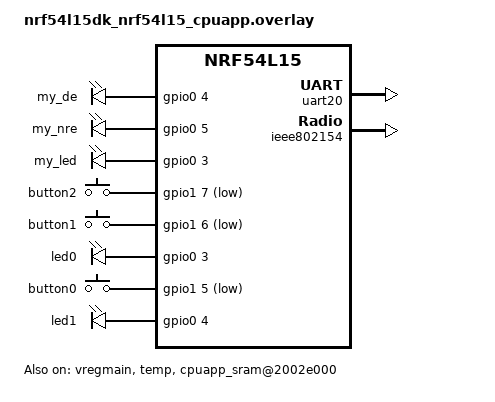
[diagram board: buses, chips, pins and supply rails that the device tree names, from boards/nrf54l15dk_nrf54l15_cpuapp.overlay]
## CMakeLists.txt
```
# SPDX-License-Identifier: Apache-1.0

cmake_minimum_required(VERSION 3.20.0)
find_package(Zephyr REQUIRED HINTS $ENV{ZEPHYR_BASE})
project(NONE)

FILE(GLOB app_sources src/*.c)
target_sources(app PRIVATE
  ${app_sources}
  )
```

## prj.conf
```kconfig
CONFIG_LOG=y
CONFIG_LOG_BUFFER_SIZE=1024
CONFIG_LOG_MODE_DEFERRED=n
CONFIG_LOG_MODE_IMMEDIATE=y
CONFIG_MAIN_STACK_SIZE=8192
CONFIG_IDLE_STACK_SIZE=8192
CONFIG_ISR_STACK_SIZE=8192

CONFIG_PM=y
CONFIG_PM_DEVICE=y
CONFIG_PM_DEVICE_RUNTIME=y
CONFIG_PM_DEVICE_SYSTEM_MANAGED=n
CONFIG_PM_DEVICE_SHELL=y
CONFIG_PM_DEVICE_LOG_LEVEL_INF=y
CONFIG_LOG_DEFAULT_LEVEL=3

CONFIG_SPI=y
CONFIG_FLASH=y
CONFIG_FLASH_LOG_LEVEL_DBG=y
CONFIG_SPI_LOG_LEVEL_DBG=y

CONFIG_ASSERT=y

CONFIG_DEBUG=n
```

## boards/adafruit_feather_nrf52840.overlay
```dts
// / {
// 	chosen {
// 		zephyr,console = &rtt;
// 		zephyr,shell-uart = &rtt;
// 	};
// };

/ {
    leds {
        compatible = "gpio-leds";

        led0: led_0 {
            gpios = <&gpio0 15 GPIO_ACTIVE_HIGH>;
            label = "Red LED";
        };
    };
};

/ {
    aliases {
        de = &my_de;
        nre = &my_nre;
    };

    leds {
        compatible = "gpio-leds";

        led0: led_0 {
            gpios = <&gpio1 15 GPIO_ACTIVE_HIGH>;
        };

        my_de: my_de {
            gpios = <&gpio0 28 GPIO_ACTIVE_HIGH>;
        };

        my_nre: my_nre {
            gpios = <&gpio0 4 GPIO_ACTIVE_HIGH>; 
        };	
    };
};

&qspi {
    status = "okay";
    pinctrl-0 = <&qspi_default>;
    pinctrl-1 = <&qspi_sleep>;
    pinctrl-names = "default", "sleep";

    gd25q16: gd25q16@0 {
        compatible = "nordic,qspi-nor";
        reg = <0>;
        writeoc = "pp4o";
        readoc = "read4io";
        sck-frequency = <16000000>;
        jedec-id = [ef 40 15];
        size = <16777216>;
        has-dpd;
        t-enter-dpd = <20000>;
        t-exit-dpd = <20000>;
        quad-enable-requirements = "S2B1v1";
    };
};

&radio {
    status = "disabled";
};

&i2c0 {
    status = "disabled";  
};

&i2c1 {
    status = "disabled";  
};

&adc {
    status = "disabled";  
};

&usbd {
    status = "disabled";  
};

&uart0 {
    status = "disabled";  
};
```

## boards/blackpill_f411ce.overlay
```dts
// See also: blackpill_f411ce.dts

/* enable USART1 for rs485 communications */
&usart1 {
     status = "disabled";
     current-speed = <115200>;
     pinctrl-0 = <&usart1_tx_pa15 &usart1_rx_pb3>;
     pinctrl-names = "default"; 
};

&usart2 {
     status = "disabled";
     current-speed = <115200>;
     pinctrl-0 = <&usart2_tx_pa2 &usart2_rx_pa3>;
     pinctrl-names = "default";
};

&usart6 {
     status = "disabled";
     current-speed = <115200>;
     pinctrl-0 = <&usart6_tx_pa11 &usart6_rx_pa12>;
     pinctrl-names = "default";
};

/ {
     aliases {
          serial-modem = &usart2;
          serial-console = &usart1;
     };
};

/ {
     rtt0: rtt_chan0 {
          compatible = "segger,rtt-uart";
          zephyr,pm-device-runtime-auto;
     };

     chosen {
          zephyr,console = &rtt0;
     };
};

/// {
//	chosen {
//		zephyr,console = &usart6;
//		zephyr,shell-uart = &usart6;
//	};
//};
//
/// {
//	chosen {
//		zephyr,console = &cdc_acm_uart0;
//		zephyr,shell-uart = &cdc_acm_uart0;
//	};
//};
//
//
//
//&zephyr_udc0 {
//	cdc_acm_uart0: cdc_acm_uart0 {
//		compatible = "zephyr,cdc-acm-uart";
//	};
//};

&adc1 {
     status = "disabled";
};

&i2c1 {
     status = "disabled";
};

&i2c2 {
     status = "disabled";
};

&i2c3 {
     status = "disabled";
};

&usbotg_fs {
     status = "disabled";
};

&spi1 {
     status = "disabled";
};

&spi2 {
     status = "disabled";
};

&spi3 {
     status = "disabled";
};

&spi4 {
     status = "disabled";
};

&spi5 {
     status = "disabled";
};
```

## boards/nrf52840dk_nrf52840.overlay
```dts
&uart0 {
    status = "disabled";
    //  current-speed = <115200>;
    //  pinctrl-0 = <&usart1_tx_pa15 &usart1_rx_pb3>;
    //  pinctrl-names = "default"; 
};

/ {
    aliases {
        de = &my_de;
        nre = &my_nre;
    };

    leds {
        compatible = "gpio-leds";

        my_de: my_de {
            gpios = <&gpio0 28 GPIO_ACTIVE_HIGH>; 
        };

        my_nre: my_nre {
            gpios = <&gpio0 4 GPIO_ACTIVE_HIGH>;  
        };	
    };
};
```

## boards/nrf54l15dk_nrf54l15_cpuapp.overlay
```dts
/*
 * Copyright (c) 2024 Nordic Semiconductor
 * SPDX-License-Identifier: Apache-2.0
 */

&pinctrl {
	/omit-if-no-ref/ uart20_default: uart20_default {
		group1 {
			psels = <NRF_PSEL(UART_TX, 1, 8)>;				 
		};
		group2 {
			psels = <NRF_PSEL(UART_RX, 1, 9)>;				 
			bias-pull-up;
		};
	};

	/omit-if-no-ref/ uart20_sleep: uart20_sleep {
		group1 {
			psels = <NRF_PSEL(UART_TX, 1, 8)>,
				    <NRF_PSEL(UART_RX, 1, 9)>;			 
			low-power-enable;
		};
	};

	/omit-if-no-ref/ uart30_default: uart30_default {
		group1 {
			psels = <NRF_PSEL(UART_TX, 0, 0)>,
				<NRF_PSEL(UART_RTS, 0, 2)>;
		};
		group2 {
			psels = <NRF_PSEL(UART_RX, 0, 1)>,
				<NRF_PSEL(UART_CTS, 0, 3)>;
			bias-pull-up;
		};
	};

	/omit-if-no-ref/ uart30_sleep: uart30_sleep {
		group1 {
			psels = <NRF_PSEL(UART_TX, 0, 0)>,
				<NRF_PSEL(UART_RX, 0, 1)>,
				<NRF_PSEL(UART_RTS, 0, 2)>,
				<NRF_PSEL(UART_CTS, 0, 3)>;
			low-power-enable;
		};
	};

	/omit-if-no-ref/ spi00_default: spi00_default {
		group1 {
			psels = <NRF_PSEL(SPIM_SCK, 2, 1)>,
				<NRF_PSEL(SPIM_MOSI, 2, 2)>,
				<NRF_PSEL(SPIM_MISO, 2, 4)>;
		};
	};

	/omit-if-no-ref/ spi00_sleep: spi00_sleep {
		group1 {
			psels = <NRF_PSEL(SPIM_SCK, 2, 1)>,
				<NRF_PSEL(SPIM_MOSI, 2, 2)>,
				<NRF_PSEL(SPIM_MISO, 2, 4)>;
				low-power-enable;
		};
	};

	/omit-if-no-ref/ pwm20_default: pwm20_default {
		group1 {
			psels = <NRF_PSEL(PWM_OUT0, 1, 10)>;
		};
	};

	/omit-if-no-ref/ pwm20_sleep: pwm20_sleep {
		group1 {
			psels = <NRF_PSEL(PWM_OUT0, 1, 10)>;
			low-power-enable;
		};
	};	
};

&vregmain {
	status = "okay";
	regulator-initial-mode = <NRF5X_REG_MODE_DCDC>;
};
 
/ {
	cpuapp_sram@2002e000 {
		compatible = "zephyr,memory-region", "mmio-sram";
		reg = <0x2002e000 DT_SIZE_K(4)>;
		zephyr,memory-region = "RetainedMem";
		status = "okay";

		retainedmem0: retainedmem {
			compatible = "zephyr,retained-ram";
			status = "okay";
		};
	};

	aliases {
		retainedmemdevice = &retainedmem0;
                die-temp0 = &temp;	
		/delete-property/ led3;
		/delete-property/ led2;
		/delete-property/ sw3;
	};
};

&cpuapp_sram {
	/* Shrink SRAM size to avoid overlap with retained memory region */
	reg = <0x20000000 DT_SIZE_K(184)>;
	ranges = <0x0 0x20000000 0x2e000>;
};

 

&button2 {
	gpios = <&gpio1 7 (GPIO_ACTIVE_LOW | GPIO_PULL_UP)>;
};

&button1 {
	gpios = <&gpio1 6 (GPIO_ACTIVE_LOW | GPIO_PULL_UP)>;
};

&led0 {
	gpios = <&gpio0 3 0>;
};

&button0 {
	gpios = <&gpio1 5 (GPIO_ACTIVE_LOW | GPIO_PULL_UP)>;
};

&led1 {
	gpios = <&gpio0 4 0>;
};
/delete-node/ &button3;
/delete-node/ &led3;
/delete-node/ &led2;

&uart20 {
	status = "okay";
};
/* 
&nfct {
    status = "disabled";
}; 

 */
 /* 
&uicr {
	nfct-pins-as-gpios;
};

&uicr {
	gpio-as-nreset;
}; 
*/
 
&temp {
	status = "okay";
};

&ieee802154 {
	status = "okay";
};

/ {
    aliases {
        de = &my_de;
        nre = &my_nre;
        user-led = &my_led;
    };

    leds {
        compatible = "gpio-leds";

        my_de: my_de {
            gpios = <&gpio0 4 GPIO_ACTIVE_HIGH>; 
        };

        my_nre: my_nre {
            gpios = <&gpio0 5 GPIO_ACTIVE_HIGH>;  
        };

        my_led: my_led {
            gpios = <&gpio0 3 GPIO_ACTIVE_HIGH>;  
        };        	
    };
};
```

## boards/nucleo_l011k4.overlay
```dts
/ {
    aliases {
        /* This alias is the magic link for the stm32_lptim_timer driver */
        stm32-lp-tick-source = &lptim1;
    };
};

&lptim1 {
    status = "okay";
    /* Use a prescaler of 32 to allow for longer sleep durations 
     * (up to 64 seconds) at the cost of some tick precision
     */
    st,prescaler = <32>;
};
```

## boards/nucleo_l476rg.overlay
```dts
// see C:\Users\MichaelDesrosiers\zephyrproject\zephyr\boards\st\nucleo_l552ze_q\nucleo_l552ze_q-common.dtsi

/ {
    aliases {
        de = &my_de;
        nre = &my_nre;
        user-led = &my_led;
    };

    leds {
        compatible = "gpio-leds";

        my_de: my_de {
            gpios = <&gpiob 13 GPIO_ACTIVE_HIGH>; 
        };

        my_nre: my_nre {
            gpios = <&gpiob 14 GPIO_ACTIVE_HIGH>;  
        };
        
        my_led: my_led {
            gpios = <&gpiob 13 GPIO_ACTIVE_HIGH>;  
        };
    };
};

&usart1 {
    status = "okay";
    current-speed = <115200>;
    pinctrl-0 = <&usart1_tx_pa9 &usart1_rx_pa10>;
    pinctrl-names = "default"; 
};

// &usart2 {
//     status = "okay";
//     current-speed = <115200>;
//     pinctrl-0 = <&usart2_tx_pa2 &usart2_rx_pa3>;
//     pinctrl-names = "default";
// };

&usart3 {
    status = "okay";
    current-speed = <500000>;
    pinctrl-0 = <&usart3_tx_pc10 &usart3_rx_pc11>;
    pinctrl-names = "default";
};

/ {
    chosen {
        //zephyr,console = &cdc_acm_uart0;
        zephyr,console = &usart3;
        zephyr,shell-uart = &usart3;
        uart,atmodem = &usart1;
        // uart-rs485 = &usart2;
    };
};

&spi3 {
    status = "disabled";
};

&spi1 {
    pinctrl-0 = <&spi1_sck_pa5 &spi1_miso_pa6 &spi1_mosi_pa7>;
    pinctrl-names = "default";
    cs-gpios = <&gpiob 6 GPIO_ACTIVE_LOW>;

    status = "okay";

    w25q128_spi: spi-nor-flash@0 {
        compatible = "jedec,spi-nor";
        reg = <0>;
        spi-max-frequency = <24000000>;
        size = <0x01000000>;    /* 128 Mbit = 16 MByte */
        status = "okay";
        jedec-id = [ef 40 18];
        has-dpd;
        t-enter-dpd = <30000>;  /* ns */
        t-exit-dpd = <30000>;   /* ns */

        partitions {
            compatible = "fixed-partitions";
            #address-cells = <1>;
            #size-cells = <1>;

            ext_storage_partition: partition@0 {
                label = "external_storage";
                reg = <0x00000000 0x01000000>;
            };
        };
    };
};

/ {
    aliases {
        external-flash = &w25q128_spi;
    };
};

// / {
//     aliases {
//         /delete-property/ led0;
//     };
// };
```

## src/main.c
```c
#include <zephyr/kernel.h>
#include <zephyr/drivers/gpio.h>
#include <zephyr/logging/log.h>
#include <zephyr/drivers/flash.h>
#include <zephyr/pm/device.h> // Required for DPD/Power management
LOG_MODULE_REGISTER(main, CONFIG_LOG_DEFAULT_LEVEL);

static const struct gpio_dt_spec de = GPIO_DT_SPEC_GET(DT_ALIAS(de), gpios);
static const struct gpio_dt_spec nre = GPIO_DT_SPEC_GET(DT_ALIAS(nre), gpios);

// static struct gpio_dt_spec g_led = GPIO_DT_SPEC_GET_OR(DT_ALIAS(led0), gpios, {0});
static struct gpio_dt_spec g_led = GPIO_DT_SPEC_GET(DT_ALIAS(user_led), gpios);

void SerialSleep()
{
	// Set nRE to 1 and DE to 0 to enter Shutdown mode.
	// https://www.analog.com/media/en/technical-documentation/data-sheets/1481fa.pdf

	int DEReady = gpio_is_ready_dt(&de);
	int nREReady = gpio_is_ready_dt(&nre);

	if (DEReady && nREReady) {

		gpio_pin_set_dt(&de, 0);
		gpio_pin_set_dt(&nre, 1);
	} else {
		LOG_ERR("One of DE/nRE GPIOs not ready!");
	}
}

void SerialWake()
{
	// Set nRE to 1 and DE to 0 to enter Shutdown mode.
	// https://www.analog.com/media/en/technical-documentation/data-sheets/1481fa.pdf

	int DEReady = gpio_is_ready_dt(&de);
	int nREReady = gpio_is_ready_dt(&nre);
	if (DEReady && nREReady) {

		gpio_pin_set_dt(&de, 1);
		gpio_pin_set_dt(&nre, 1);
	} else {
		LOG_ERR("One of DE/nRE GPIOs not ready!");
	}
}

void main(void)
{
	int err;
	if (!gpio_is_ready_dt(&de)) {
		LOG_ERR("The RS485-DE GPIO port is not ready.");
		return 0;
	}

	if (!gpio_is_ready_dt(&nre)) {
		LOG_ERR("The RS485-nRE GPIO port is not ready.");
		return 0;
	}

	if (!gpio_is_ready_dt(&g_led)) {
		LOG_ERR("The LED port is not ready.");
		return 0;
	}

	err = gpio_pin_configure_dt(&de, GPIO_OUTPUT_INACTIVE);
	if (err != 0) {
		LOG_ERR("Configuring RS485DE GPIO pin failed: %d", err);
		return 0;
	}

	err = gpio_pin_configure_dt(&nre, GPIO_OUTPUT_INACTIVE);
	if (err != 0) {
		LOG_ERR("Configuring RS485nRE GPIO pin failed: %d", err);
		return 0;
	}

	err = gpio_pin_configure_dt(&g_led, GPIO_OUTPUT_INACTIVE);
	if (err != 0) {
		LOG_ERR("Configuring LED GPIO pin failed: %d", err);
		return 0;
	}

	SerialWake();

	for (int i = 0; i < 10; i++) {
		LOG_INF("booting: %d", i);
		k_busy_wait(1000 * 200);
	}

	for (int i = 0; i < 2; i++) {
		LOG_INF("hi - busy");
		gpio_pin_set_dt(&g_led, 1);
		k_busy_wait(1000 * 100);
		LOG_INF("lo - busy");
		gpio_pin_set_dt(&g_led, 0);
		k_busy_wait(1000 * 900);
	}
	printk("moving to real sleeps!\n");
	SerialSleep();
	for (int i = 0; i < 10; i++) {
		LOG_INF("hi - sleep");
		gpio_pin_set_dt(&g_led, 1);
		k_sleep(K_MSEC(100));
		LOG_INF("lo - sleep");
		gpio_pin_set_dt(&g_led, 0);
		k_sleep(K_MSEC(900));
	}

	for (;;) {
		k_sleep(K_MSEC(1000));
	}
}
```

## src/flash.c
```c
// /*
//  * Copyright (C) 2023 Dave Waataja
//  *
//  */

// #include "flash.h"
// #include <nrfx_qspi.h>
// #include <zephyr/drivers/gpio.h>

// #define QSPI_SCK_PIN 21
// #define QSPI_CS_PIN  25
// #define QSPI_IO0_PIN 20
// #define QSPI_IO1_PIN 24
// #define QSPI_IO2_PIN 22
// #define QSPI_IO3_PIN 23

// int da_flash_init()
// {
// 	const struct device *dev = DEVICE_DT_GET(DT_NODELABEL(gpio0));
// 	if (!device_is_ready(dev)) {
// 		return -ENODEV;
// 	}
// 	gpio_pin_configure(dev, QSPI_CS_PIN, GPIO_OUTPUT_HIGH);

// 	nrfx_qspi_config_t qspi_cfg = {
// 		.xip_offset = 0,
// 		.pins =
// 			{
// 				.sck_pin = QSPI_SCK_PIN,
// 				.csn_pin = QSPI_CS_PIN,
// 				.io0_pin = QSPI_IO0_PIN,
// 				.io1_pin = QSPI_IO1_PIN,
// 				.io2_pin = QSPI_IO2_PIN,
// 				.io3_pin = QSPI_IO3_PIN,
// 			},
// 		.prot_if = {.readoc = NRF_QSPI_READOC_READ4O, // 0x6B read command
// 			    .writeoc = NRF_QSPI_WRITEOC_PP4O, // 0x32 write command
// 			    .addrmode = NRF_QSPI_ADDRMODE_24BIT,
// 			    .dpmconfig = false},
// 		.phy_if =
// 			{
// 				.sck_delay = 10,
// 				.dpmen = false,
// 				.spi_mode = NRF_QSPI_MODE_0,
// 				.sck_freq = NRF_QSPI_FREQ_32MDIV16, // start with low 2 Mhz speed
// 			},
// 		.irq_priority = 7,
// 		.skip_gpio_cfg = true,
// 		.skip_psel_cfg = false};

// 	// No callback for blocking API
// 	nrfx_err_t err = nrfx_qspi_init(&qspi_cfg, NULL, NULL);
// 	if (err != NRFX_SUCCESS) {
// 		return -err;
// 	}

// 	return 0;
// }

// void da_flash_uninit()
// {
// 	nrfx_qspi_uninit();
// }

// int da_flash_command(uint8_t command)
// {
// 	nrf_qspi_cinstr_conf_t cinstr_cfg = {.opcode = command,
// 					     .length = NRF_QSPI_CINSTR_LEN_1B,
// 					     .io2_level = true,
// 					     .io3_level = true,
// 					     .wipwait = false,
// 					     .wren = false};

// 	nrfx_err_t err = nrfx_qspi_cinstr_xfer(&cinstr_cfg, NULL, NULL);
// 	if (err != NRFX_SUCCESS) {
// 		return -err;
// 	}

// 	return 0;
// }
```

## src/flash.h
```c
// /*
//  * Copyright (C) 2023 Dave Waataja
//  *
//  */

// #ifndef DA_FLASH_H__
// #define DA_FLASH_H__

// /** @file flash.h
//  * @brief Module for interacting with the xiao flash
//  */

// #include <stdint.h>

// #ifdef __cplusplus
// extern "C" {
// #endif

// /** @brief Initializes QSPI flash module
//  *
//  *  @retval 0   If the operation was successful.
//  *              Otherwise, a (negative) error code is returned.
//  */
// int da_flash_init();

// /** @brief Uninitializes the QSPI flash module
//  */
// void da_flash_uninit();

// /** @brief Initializes the command handling module
//  *
//  *  @param  command. Command to send to the flash
//  *
//  *  @retval 0   If the operation was successful.
//  *              Otherwise, a (negative) error code is returned.
//  */
// int da_flash_command(uint8_t command);

// #ifdef __cplusplus
// }
// #endif

// #endif /* DA_FLASH_H__ */
```
